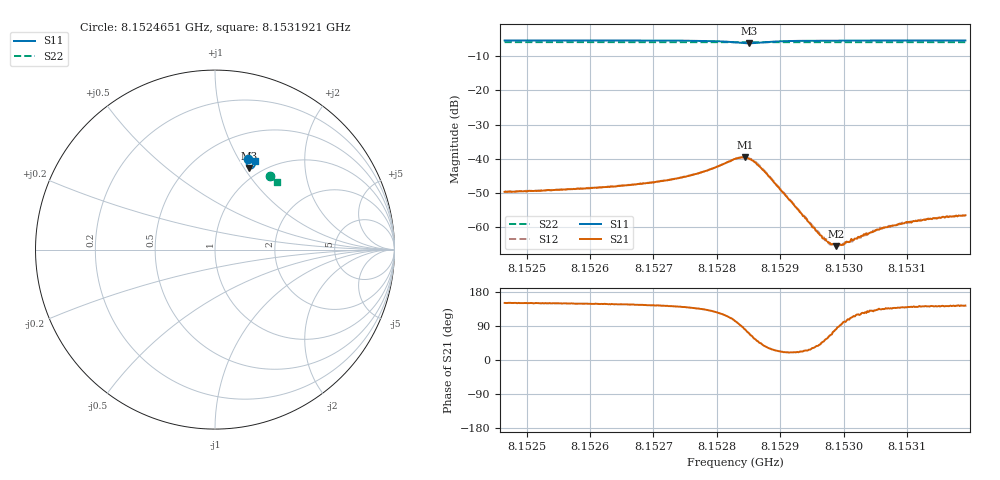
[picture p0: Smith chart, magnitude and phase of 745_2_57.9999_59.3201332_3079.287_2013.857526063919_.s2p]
#  HZ  S  RI  R  50.00
! Rohde & Schwarz Vector Network Analyzer
! Rohde-Schwarz,ZNB20-2Port,1311601062101988,3.16
! Created: UTC 3/21/2024, 1:23:45 AM
! freq[Hz]  re:S11  im:S11  re:S21  im:S21  re:S12  im:S12  re:S22  im:S22
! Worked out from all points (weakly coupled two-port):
!   401 points, 8.1524651 GHz to 8.1531921 GHz, reference 50 ohm
!   highest |S21| = -39.57 dB at 8.152845 GHz (marker M1); lowest = -65.7 dB at 8.1529885 GHz (marker M2)
!   lowest |S11| = -6.2 dB at 8.1528504 GHz (marker M3), VSWR 2.94, Z = 43.9 + j52.6 ohm
!   |S11| at or under -10 dB: nowhere
!   |S22| runs from -5.9 to -5.8 dB; largest |S21 - S12| = 0.00036
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8.15246512e9  0.1866 0.5072  -0.00284 0.0016  -0.00286 0.00168  0.3085 0.4075
8.15258689e9  0.1962 0.5034  -0.00308 0.00187  -0.00312 0.00193  0.3146 0.4024
8.1526396e9  0.201 0.5012  -0.00328 0.00212  -0.0033 0.00219  0.3173 0.4004
8.15270866e9  0.2081 0.4971  -0.00373 0.00271  -0.0037 0.00276  0.3207 0.3975
8.15274137e9  0.2124 0.4938  -0.00404 0.0033  -0.00399 0.00339  0.3224 0.3961
8.15277408e9  0.2175 0.4881  -0.00437 0.00441  -0.00436 0.00448  0.324 0.3945
8.1528286e9  0.2155 0.4596  -0.0022 0.00965  -0.0022 0.00963  0.326 0.3912
8.15284496e9  0.197 0.4521  0.00179 0.0104  0.00196 0.0103  0.326 0.3907
8.15285041e9  0.1896 0.4539  0.00325 0.00944  0.00346 0.00954  0.3259 0.3908
8.15285768e9  0.1814 0.4602  0.00485 0.00792  0.00483 0.00802  0.3261 0.3906
8.15287041e9  0.1763 0.4741  0.00525 0.00488  0.00557 0.0049  0.3268 0.3907
8.15295037e9  0.1993 0.4977  0.000846 0.000518  0.000914 0.000524  0.3316 0.388
8.15296491e9  0.2019 0.4977  0.000521 0.000528  0.000539 0.000532  0.3322 0.3872
8.15297945e9  0.2043 0.4975  0.000228 0.000514  0.000243 0.000491  0.3331 0.3867
8.15298854e9  0.2057 0.4975  7.28e-05 0.000514  0.000123 0.000543  0.3335 0.3862
8.15299762e9  0.2067 0.4974  -5.93e-05 0.000543  -2.96e-05 0.000542  0.3338 0.386
8.15301034e9  0.2084 0.497  -0.000214 0.00057  -0.000176 0.000574  0.3345 0.3853
8.15304306e9  0.2122 0.4962  -0.000528 0.000638  -0.000529 0.000629  0.3362 0.384
8.15307214e9  0.215 0.4954  -0.000724 0.000704  -0.000726 0.000741  0.3374 0.3828
8.15310122e9  0.2177 0.4946  -0.000893 0.000751  -0.000875 0.000777  0.3389 0.3815
8.15312484e9  0.2199 0.4938  -0.000988 0.000782  -0.001 0.00082  0.3401 0.3804
8.15319208e9  0.225 0.4919  -0.00119 0.000877  -0.00119 0.000876  0.3433 0.3773
